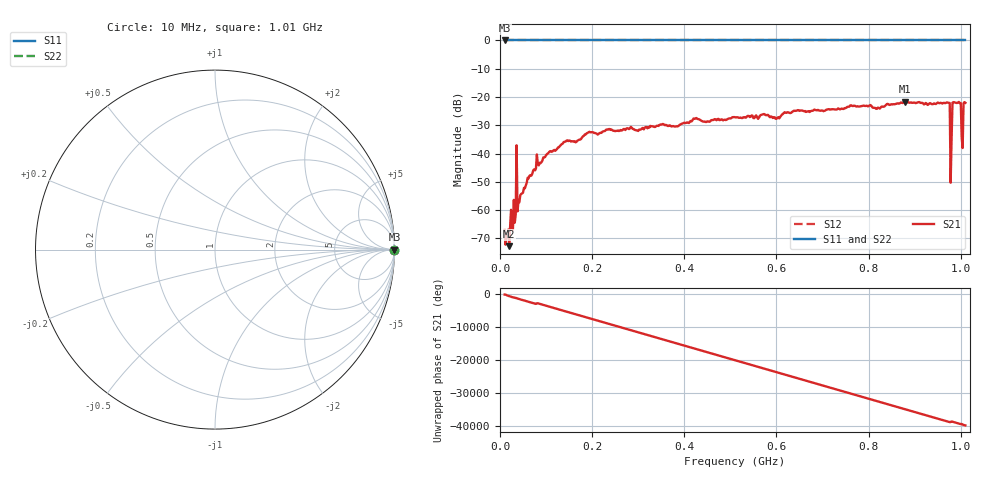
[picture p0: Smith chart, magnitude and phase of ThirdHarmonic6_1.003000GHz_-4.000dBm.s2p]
! 8/16/2025 8:07:41 AM
! C:\ANRITSUVNA\TEMP\TEMP.S2P
! CHANNEL.1
! TR.MEASUREMENT
! RAW.DATA
! RF.CORRECTION.OFF
! AVERAGING.OFF
! IF.BANDWIDTH: 5KHZ
! SWEEPTYPE:  FREQ.SWEEP(Linear)
! Reference Plane Port Info
! PORT:  PORT1  PORT2
! DISTANCE:  0  m  0  m
! TIME:  0  s  0  s
! PHASE.OFFSET:  0  deg.  0  deg.
! LOSS:  0  dB  0  dB
! REF.LOSS:  0  dB  0  dB
! REF.FREQ:  0  Hz  0  Hz
! Power Info
! POWER:  -20  dBm  -20  dBm
! EFF.POWER:  -20  dBm  -20  dBm
! SOURCE.ATTEN:  0  dB  0  dB
! TEST.ATTEN:  0  dB  0  dB
# GHZ S RI R 50.0
! FREQ.GHZ  S11RE  S11IM  S21RE  S21IM  S12RE  S12IM  S22RE  S22IM
!; PortSelection: Port_12
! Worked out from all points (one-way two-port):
!   501 points, 10 MHz to 1.01 GHz, reference 50 ohm
!   highest |S21| = -21.69 dB at 878 MHz (marker M1); lowest = -72.8 dB at 20 MHz (marker M2)
!   lowest |S11| = 0.0 dB at 10 MHz (marker M3)
!   |S11| at or under -10 dB: nowhere
!   |S22| runs from 0.0 to 0.0 dB; largest |S21 - S12| = 1.1
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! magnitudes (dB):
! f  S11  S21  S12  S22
! 10 MHz  0.0  -67.1  0.0  0.0
! 20 MHz  0.0  -72.8  0.0  0.0
! 30 MHz  0.0  -56.4  0.0  0.0
! 32 MHz  0.0  -64.5  0.0  0.0
! 40 MHz  0.0  -57.0  0.0  0.0
! 42 MHz  0.0  -57.2  0.0  0.0
! 78 MHz  0.0  -45.4  0.0  0.0
! 178 MHz  0.0  -34.3  0.0  0.0
! 344 MHz  0.0  -30.2  0.0  0.0
! 510 MHz  0.0  -27.1  0.0  0.0
! 678 MHz  0.0  -24.9  0.0  0.0
! 844 MHz  0.0  -22.7  0.0  0.0
! 878 MHz  0.0  -21.7  0.0  0.0
! 972 MHz  0.0  -22.0  0.0  0.0
! 974 MHz  0.0  -22.0  0.0  0.0
! 978 MHz  0.0  -50.3  0.0  0.0
! 982 MHz  0.0  -22.0  0.0  0.0
! 986 MHz  0.0  -21.9  0.0  0.0
! 996 MHz  0.0  -21.7  0.0  0.0
! 1.002 GHz  0.0  -34.3  0.0  0.0
! 1.006 GHz  0.0  -22.2  0.0  0.0
! 1.01 GHz  0.0  -22.1  0.0  0.0
